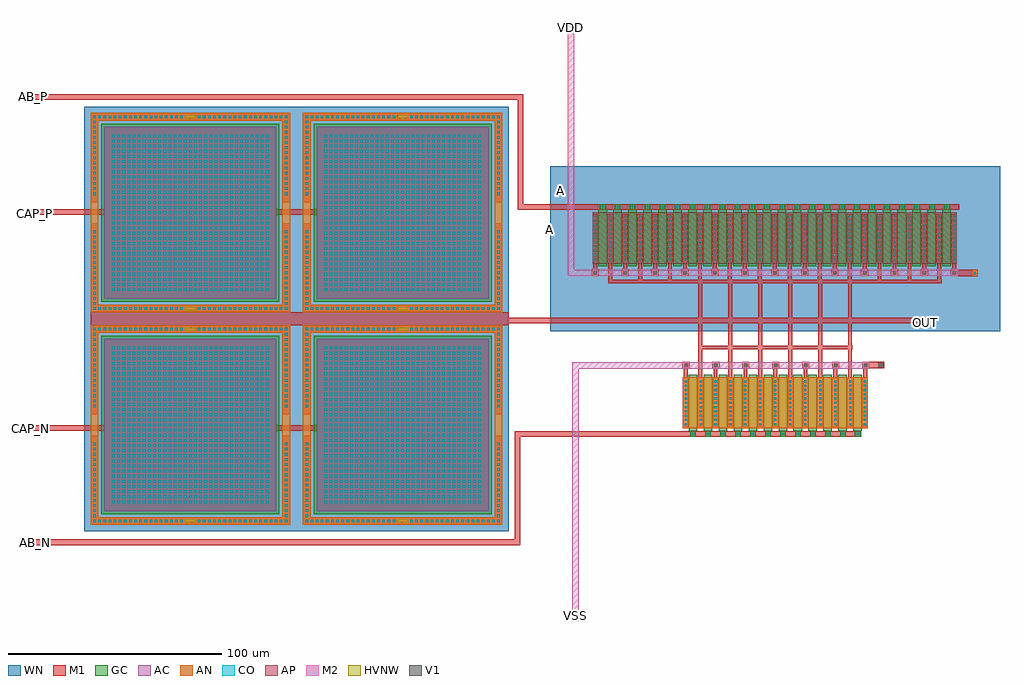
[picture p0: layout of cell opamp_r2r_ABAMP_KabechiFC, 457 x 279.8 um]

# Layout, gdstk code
from math import pi, radians
import gdstk
lib = gdstk.Library(unit=1e-6, precision=1e-07)
def R(c, l, rs):  # rectangles x0, y0, x1, y1
    for r in rs: c.add(gdstk.rectangle(r[:2], r[2:], *l))
def A(c, l, x, y, w, h, nx, ny, dx, dy):  # array of equal rectangles
    R(c, l, [(x+i*dx, y+j*dy, x+i*dx+w, y+j*dy+h) for i in range(nx) for j in range(ny)])
def P(c, l, *ps):  # polygons
    for p in ps: c.add(gdstk.Polygon(p, *l))
AP = (3, 1)
AN = (3, 2)
AC = (3, 4)
GC = (8, 1)
CO = (11, 0)
M1 = (13, 0)
V1 = (19, 0)
M2 = (20, 0)
WN = (140, 0)
HVNW = (141, 0)

fet_p = lib.new_cell('fet_p')
R(fet_p, AP, [(-85.3,-12,85.3,12)])
A(fet_p, CO, -84.5, -10.5, 1, 1, 25, 11, 7, 2)
A(fet_p, M1, -85.3, -11.3, 2.6, 22.6, 25, 1, 7, 0)
fet_p.add(gdstk.FlexPath([(3.5,-13.2),(3.5,13.2)], 4, ends="flush", simple_path=True, layer=8, datatype=1))  # GC
fet_p.add(gdstk.FlexPath([(-3.5,-13.2),(-3.5,13.2)], 4, ends="flush", simple_path=True, layer=8, datatype=1))  # GC
fet_p.add(gdstk.FlexPath([(10.5,-13.2),(10.5,13.2)], 4, ends="flush", simple_path=True, layer=8, datatype=1))  # GC
fet_p.add(gdstk.FlexPath([(-10.5,-13.2),(-10.5,13.2)], 4, ends="flush", simple_path=True, layer=8, datatype=1))  # GC
fet_p.add(gdstk.FlexPath([(17.5,-13.2),(17.5,13.2)], 4, ends="flush", simple_path=True, layer=8, datatype=1))  # GC
fet_p.add(gdstk.FlexPath([(-17.5,-13.2),(-17.5,13.2)], 4, ends="flush", simple_path=True, layer=8, datatype=1))  # GC
fet_p.add(gdstk.FlexPath([(24.5,-13.2),(24.5,13.2)], 4, ends="flush", simple_path=True, layer=8, datatype=1))  # GC
fet_p.add(gdstk.FlexPath([(-24.5,-13.2),(-24.5,13.2)], 4, ends="flush", simple_path=True, layer=8, datatype=1))  # GC
fet_p.add(gdstk.FlexPath([(31.5,-13.2),(31.5,13.2)], 4, ends="flush", simple_path=True, layer=8, datatype=1))  # GC
fet_p.add(gdstk.FlexPath([(-31.5,-13.2),(-31.5,13.2)], 4, ends="flush", simple_path=True, layer=8, datatype=1))  # GC
fet_p.add(gdstk.FlexPath([(38.5,-13.2),(38.5,13.2)], 4, ends="flush", simple_path=True, layer=8, datatype=1))  # GC
fet_p.add(gdstk.FlexPath([(-38.5,-13.2),(-38.5,13.2)], 4, ends="flush", simple_path=True, layer=8, datatype=1))  # GC
fet_p.add(gdstk.FlexPath([(45.5,-13.2),(45.5,13.2)], 4, ends="flush", simple_path=True, layer=8, datatype=1))  # GC
fet_p.add(gdstk.FlexPath([(-45.5,-13.2),(-45.5,13.2)], 4, ends="flush", simple_path=True, layer=8, datatype=1))  # GC
fet_p.add(gdstk.FlexPath([(52.5,-13.2),(52.5,13.2)], 4, ends="flush", simple_path=True, layer=8, datatype=1))  # GC
fet_p.add(gdstk.FlexPath([(-52.5,-13.2),(-52.5,13.2)], 4, ends="flush", simple_path=True, layer=8, datatype=1))  # GC
fet_p.add(gdstk.FlexPath([(59.5,-13.2),(59.5,13.2)], 4, ends="flush", simple_path=True, layer=8, datatype=1))  # GC
fet_p.add(gdstk.FlexPath([(-59.5,-13.2),(-59.5,13.2)], 4, ends="flush", simple_path=True, layer=8, datatype=1))  # GC
fet_p.add(gdstk.FlexPath([(66.5,-13.2),(66.5,13.2)], 4, ends="flush", simple_path=True, layer=8, datatype=1))  # GC
fet_p.add(gdstk.FlexPath([(-66.5,-13.2),(-66.5,13.2)], 4, ends="flush", simple_path=True, layer=8, datatype=1))  # GC
fet_p.add(gdstk.FlexPath([(73.5,-13.2),(73.5,13.2)], 4, ends="flush", simple_path=True, layer=8, datatype=1))  # GC
fet_p.add(gdstk.FlexPath([(-73.5,-13.2),(-73.5,13.2)], 4, ends="flush", simple_path=True, layer=8, datatype=1))  # GC
fet_p.add(gdstk.FlexPath([(80.5,-13.2),(80.5,13.2)], 4, ends="flush", simple_path=True, layer=8, datatype=1))  # GC
fet_p.add(gdstk.FlexPath([(-80.5,-13.2),(-80.5,13.2)], 4, ends="flush", simple_path=True, layer=8, datatype=1))  # GC

cont_g = lib.new_cell('cont_g')
R(cont_g, GC, [(-1.3,-1.3,1.3,1.3)])
R(cont_g, CO, [(-0.5,-0.5,0.5,0.5)])
R(cont_g, M1, [(-1.3,-1.3,1.3,1.3)])

via_1 = lib.new_cell('via_1')
R(via_1, M1, [(-1.7,-1.7,1.7,1.7)])
R(via_1, V1, [(-0.7,-0.7,0.7,0.7)])
R(via_1, M2, [(-1.7,-1.7,1.7,1.7)])

fet_n = lib.new_cell('fet_n')
R(fet_n, AN, [(-43.3,-12,43.3,12)])
A(fet_n, CO, -42.5, -10.5, 1, 1, 13, 11, 7, 2)
A(fet_n, M1, -43.3, -11.3, 2.6, 22.6, 13, 1, 7, 0)
fet_n.add(gdstk.FlexPath([(3.5,-13.2),(3.5,13.2)], 4, ends="flush", simple_path=True, layer=8, datatype=1))  # GC
fet_n.add(gdstk.FlexPath([(-3.5,-13.2),(-3.5,13.2)], 4, ends="flush", simple_path=True, layer=8, datatype=1))  # GC
fet_n.add(gdstk.FlexPath([(10.5,-13.2),(10.5,13.2)], 4, ends="flush", simple_path=True, layer=8, datatype=1))  # GC
fet_n.add(gdstk.FlexPath([(-10.5,-13.2),(-10.5,13.2)], 4, ends="flush", simple_path=True, layer=8, datatype=1))  # GC
fet_n.add(gdstk.FlexPath([(17.5,-13.2),(17.5,13.2)], 4, ends="flush", simple_path=True, layer=8, datatype=1))  # GC
fet_n.add(gdstk.FlexPath([(-17.5,-13.2),(-17.5,13.2)], 4, ends="flush", simple_path=True, layer=8, datatype=1))  # GC
fet_n.add(gdstk.FlexPath([(24.5,-13.2),(24.5,13.2)], 4, ends="flush", simple_path=True, layer=8, datatype=1))  # GC
fet_n.add(gdstk.FlexPath([(-24.5,-13.2),(-24.5,13.2)], 4, ends="flush", simple_path=True, layer=8, datatype=1))  # GC
fet_n.add(gdstk.FlexPath([(31.5,-13.2),(31.5,13.2)], 4, ends="flush", simple_path=True, layer=8, datatype=1))  # GC
fet_n.add(gdstk.FlexPath([(-31.5,-13.2),(-31.5,13.2)], 4, ends="flush", simple_path=True, layer=8, datatype=1))  # GC
fet_n.add(gdstk.FlexPath([(38.5,-13.2),(38.5,13.2)], 4, ends="flush", simple_path=True, layer=8, datatype=1))  # GC
fet_n.add(gdstk.FlexPath([(-38.5,-13.2),(-38.5,13.2)], 4, ends="flush", simple_path=True, layer=8, datatype=1))  # GC

moscap = lib.new_cell('moscap')
P(moscap, AN, [(-46.7,-46.7),(-46.7,43.1),(-43.1,43.1),(-43.1,-43.1),(43.1,-43.1),(43.1,43.1),(-46.7,43.1),(-46.7,46.7),(46.7,46.7),(46.7,-46.7)])
R(moscap, AC, [(-40.3,-40.3,40.3,40.3)])
R(moscap, GC, [(-41.7,-41.7,41.7,41.7)])
A(moscap, CO, -45.5, -45.5, 1.2, 1.2, 1, 18, 0, 2.4)
A(moscap, CO, -45.5, -45.5, 1.2, 1.2, 16, 2, 2.4, 89.8)
A(moscap, CO, 8.3, -45.5, 1.2, 1.2, 16, 2, 2.4, 89.8)
A(moscap, CO, 44.3, -45.5, 1.2, 1.2, 1, 18, 0, 2.4)
A(moscap, CO, -36.6, -36.6, 1.2, 1.2, 31, 31, 2.4, 2.4)
A(moscap, CO, -45.5, 3.5, 1.2, 1.2, 1, 18, 0, 2.4)
A(moscap, CO, 44.3, 3.5, 1.2, 1.2, 1, 18, 0, 2.4)
R(moscap, M1, [(-40.3,-40.3,40.3,40.3)])
P(moscap, M1, [(-46.7,-46.7),(-46.7,46.7),(-5,46.7),(-5,43.1),(-43.1,43.1),(-43.1,-43.1),(-5,-43.1),(-5,-46.7)],
  [(5,-46.7),(5,-43.1),(43.1,-43.1),(43.1,43.1),(5,43.1),(5,46.7),(46.7,46.7),(46.7,-46.7)])
R(moscap, WN, [(-49.7,-49.7,49.7,49.7)])
R(moscap, HVNW, [(-45.6,-2.4,-44.2,2.4), (44.2,-2.4,45.6,2.4)])

cont_p = lib.new_cell('cont_p')
R(cont_p, AP, [(-1.3,-1.3,1.3,1.3)])
R(cont_p, CO, [(-0.5,-0.5,0.5,0.5)])
R(cont_p, M1, [(-1.3,-1.3,1.3,1.3)])

cont_n = lib.new_cell('cont_n')
R(cont_n, AN, [(-1.3,-1.3,1.3,1.3)])
R(cont_n, CO, [(-0.5,-0.5,0.5,0.5)])
R(cont_n, M1, [(-1.3,-1.3,1.3,1.3)])

opamp_r2r_abamp_kabechif = lib.new_cell('opamp_r2r_ABAMP_KabechiFC')
R(opamp_r2r_abamp_kabechif, M1, [(-322,-43.8,-126.2,-37.8)])
R(opamp_r2r_abamp_kabechif, WN, [(-106.8,-46.7,103.8,30.7)])
opamp_r2r_abamp_kabechif.add(gdstk.FlexPath([(82.4,-19.3),(93.4,-19.3)], 3, ends="flush", simple_path=True, layer=13, datatype=0))  # M1
opamp_r2r_abamp_kabechif.add(gdstk.FlexPath([(39.2,-62.4),(49.5,-62.4)], 3, ends="flush", simple_path=True, layer=13, datatype=0))  # M1
opamp_r2r_abamp_kabechif.add(gdstk.FlexPath([(-319.5,-145.4),(-349.1,-145.4),(-349.1,-145.4)], 2.6, ends="flush", simple_path=True, layer=13, datatype=0))  # M1
opamp_r2r_abamp_kabechif.add(gdstk.FlexPath([(-122,11.6),(-73.8,11.6),(84.7,11.6)], 2.6, ends="flush", simple_path=True, layer=13, datatype=0))  # M1
opamp_r2r_abamp_kabechif.add(gdstk.FlexPath([(-79.6,-23.3),(-75.9,-23.3),(76.5,-23.3)], 1.8, ends="flush", simple_path=True, layer=13, datatype=0))  # M1
opamp_r2r_abamp_kabechif.add(gdstk.FlexPath([(-78.7,-12.9),(-78.7,-24.1)], 1.8, ends="flush", simple_path=True, layer=13, datatype=0))  # M1
opamp_r2r_abamp_kabechif.add(gdstk.FlexPath([(-64.7,-12.9),(-64.7,-24.1)], 1.8, ends="flush", simple_path=True, layer=13, datatype=0))  # M1
opamp_r2r_abamp_kabechif.add(gdstk.FlexPath([(-50.7,-12.9),(-50.7,-24.1)], 1.8, ends="flush", simple_path=True, layer=13, datatype=0))  # M1
opamp_r2r_abamp_kabechif.add(gdstk.FlexPath([(-36.7,-12.9),(-36.7,-24.1)], 1.8, ends="flush", simple_path=True, layer=13, datatype=0))  # M1
opamp_r2r_abamp_kabechif.add(gdstk.FlexPath([(-22.7,-12.9),(-22.7,-24.1)], 1.8, ends="flush", simple_path=True, layer=13, datatype=0))  # M1
opamp_r2r_abamp_kabechif.add(gdstk.FlexPath([(-8.7,-12.9),(-8.7,-24.1)], 1.8, ends="flush", simple_path=True, layer=13, datatype=0))  # M1
opamp_r2r_abamp_kabechif.add(gdstk.FlexPath([(5.4,-12.9),(5.4,-24.1)], 1.8, ends="flush", simple_path=True, layer=13, datatype=0))  # M1
opamp_r2r_abamp_kabechif.add(gdstk.FlexPath([(19.4,-12.9),(19.4,-24.1)], 1.8, ends="flush", simple_path=True, layer=13, datatype=0))  # M1
opamp_r2r_abamp_kabechif.add(gdstk.FlexPath([(33.4,-12.9),(33.4,-24.1)], 1.8, ends="flush", simple_path=True, layer=13, datatype=0))  # M1
opamp_r2r_abamp_kabechif.add(gdstk.FlexPath([(47.4,-12.9),(47.4,-24.1)], 1.8, ends="flush", simple_path=True, layer=13, datatype=0))  # M1
opamp_r2r_abamp_kabechif.add(gdstk.FlexPath([(61.4,-12.9),(61.4,-24.1)], 1.8, ends="flush", simple_path=True, layer=13, datatype=0))  # M1
opamp_r2r_abamp_kabechif.add(gdstk.FlexPath([(75.4,-12.9),(75.4,-24.1)], 1.8, ends="flush", simple_path=True, layer=13, datatype=0))  # M1
opamp_r2r_abamp_kabechif.add(gdstk.FlexPath([(-85.7,-13.2),(-85.7,-20.3)], 1.8, ends="flush", simple_path=True, layer=13, datatype=0))  # M1
opamp_r2r_abamp_kabechif.add(gdstk.FlexPath([(-71.7,-13.2),(-71.7,-20.3)], 1.8, ends="flush", simple_path=True, layer=13, datatype=0))  # M1
opamp_r2r_abamp_kabechif.add(gdstk.FlexPath([(-57.7,-13.2),(-57.7,-20.3)], 1.8, ends="flush", simple_path=True, layer=13, datatype=0))  # M1
opamp_r2r_abamp_kabechif.add(gdstk.FlexPath([(-43.7,-13.2),(-43.7,-20.3)], 1.8, ends="flush", simple_path=True, layer=13, datatype=0))  # M1
opamp_r2r_abamp_kabechif.add(gdstk.FlexPath([(-29.7,-13.2),(-29.7,-20.3)], 1.8, ends="flush", simple_path=True, layer=13, datatype=0))  # M1
opamp_r2r_abamp_kabechif.add(gdstk.FlexPath([(-15.7,-13.2),(-15.7,-20.3)], 1.8, ends="flush", simple_path=True, layer=13, datatype=0))  # M1
opamp_r2r_abamp_kabechif.add(gdstk.FlexPath([(-1.7,-13.2),(-1.7,-20.3)], 1.8, ends="flush", simple_path=True, layer=13, datatype=0))  # M1
opamp_r2r_abamp_kabechif.add(gdstk.FlexPath([(12.4,-13.2),(12.4,-20.3)], 1.8, ends="flush", simple_path=True, layer=13, datatype=0))  # M1
opamp_r2r_abamp_kabechif.add(gdstk.FlexPath([(26.4,-13.2),(26.4,-20.3)], 1.8, ends="flush", simple_path=True, layer=13, datatype=0))  # M1
opamp_r2r_abamp_kabechif.add(gdstk.FlexPath([(40.4,-13.2),(40.4,-20.3)], 1.8, ends="flush", simple_path=True, layer=13, datatype=0))  # M1
opamp_r2r_abamp_kabechif.add(gdstk.FlexPath([(54.4,-13.2),(54.4,-20.3)], 1.8, ends="flush", simple_path=True, layer=13, datatype=0))  # M1
opamp_r2r_abamp_kabechif.add(gdstk.FlexPath([(68.4,-13.2),(68.4,-20.3)], 1.8, ends="flush", simple_path=True, layer=13, datatype=0))  # M1
opamp_r2r_abamp_kabechif.add(gdstk.FlexPath([(82.4,-13.2),(82.4,-20.3)], 1.8, ends="flush", simple_path=True, layer=13, datatype=0))  # M1
opamp_r2r_abamp_kabechif.add(gdstk.FlexPath([(-79.6,-23.3),(-75.9,-23.3),(76.5,-23.3)], 1.8, ends="flush", simple_path=True, layer=13, datatype=0))  # M1
opamp_r2r_abamp_kabechif.add(gdstk.FlexPath([(-79.6,-23.3),(-75.9,-23.3),(76.5,-23.3)], 1.8, ends="flush", simple_path=True, layer=13, datatype=0))  # M1
opamp_r2r_abamp_kabechif.add(gdstk.FlexPath([(-79.6,-23.3),(-75.9,-23.3),(76.5,-23.3)], 1.8, ends="flush", simple_path=True, layer=13, datatype=0))  # M1
opamp_r2r_abamp_kabechif.add(gdstk.FlexPath([(-79.6,-23.3),(-75.9,-23.3),(76.5,-23.3)], 1.8, ends="flush", simple_path=True, layer=13, datatype=0))  # M1
opamp_r2r_abamp_kabechif.add(gdstk.FlexPath([(-43.4,-69.3),(-43.4,-63.4)], 1.8, ends="flush", simple_path=True, layer=13, datatype=0))  # M1
opamp_r2r_abamp_kabechif.add(gdstk.FlexPath([(-29.4,-69.3),(-29.4,-63.4)], 1.8, ends="flush", simple_path=True, layer=13, datatype=0))  # M1
opamp_r2r_abamp_kabechif.add(gdstk.FlexPath([(-15.4,-69.3),(-15.4,-63.4)], 1.8, ends="flush", simple_path=True, layer=13, datatype=0))  # M1
opamp_r2r_abamp_kabechif.add(gdstk.FlexPath([(-1.4,-69.3),(-1.4,-63.4)], 1.8, ends="flush", simple_path=True, layer=13, datatype=0))  # M1
opamp_r2r_abamp_kabechif.add(gdstk.FlexPath([(12.7,-69.3),(12.7,-63.4)], 1.8, ends="flush", simple_path=True, layer=13, datatype=0))  # M1
opamp_r2r_abamp_kabechif.add(gdstk.FlexPath([(26.7,-69.3),(26.7,-63.4)], 1.8, ends="flush", simple_path=True, layer=13, datatype=0))  # M1
opamp_r2r_abamp_kabechif.add(gdstk.FlexPath([(40.7,-69.3),(40.7,-63.4)], 1.8, ends="flush", simple_path=True, layer=13, datatype=0))  # M1
opamp_r2r_abamp_kabechif.add(gdstk.FlexPath([(38.8,-94.8),(-41,-94.8)], 2.6, ends="flush", simple_path=True, layer=13, datatype=0))  # M1
opamp_r2r_abamp_kabechif.add(gdstk.FlexPath([(-36.5,-70.1),(-36.5,-22.9),(-36.6,-22.9)], 1.8, ends="flush", simple_path=True, layer=13, datatype=0))  # M1
opamp_r2r_abamp_kabechif.add(gdstk.FlexPath([(-22.5,-70.1),(-22.5,-22.9),(-22.6,-22.9)], 1.8, ends="flush", simple_path=True, layer=13, datatype=0))  # M1
opamp_r2r_abamp_kabechif.add(gdstk.FlexPath([(-8.5,-70.1),(-8.5,-22.9),(-8.6,-22.9)], 1.8, ends="flush", simple_path=True, layer=13, datatype=0))  # M1
opamp_r2r_abamp_kabechif.add(gdstk.FlexPath([(5.6,-70.1),(5.6,-22.9),(5.5,-22.9)], 1.8, ends="flush", simple_path=True, layer=13, datatype=0))  # M1
opamp_r2r_abamp_kabechif.add(gdstk.FlexPath([(19.6,-70.1),(19.6,-22.9),(19.5,-22.9)], 1.8, ends="flush", simple_path=True, layer=13, datatype=0))  # M1
opamp_r2r_abamp_kabechif.add(gdstk.FlexPath([(33.6,-70.1),(33.6,-22.9),(33.5,-22.9)], 1.8, ends="flush", simple_path=True, layer=13, datatype=0))  # M1
opamp_r2r_abamp_kabechif.add(gdstk.FlexPath([(-37.6,-54.2),(34.7,-54.2)], 1.8, ends="flush", simple_path=True, layer=13, datatype=0))  # M1
opamp_r2r_abamp_kabechif.add(gdstk.FlexPath([(73.8,-41.6),(-128.2,-41.6)], 2.6, ends="flush", simple_path=True, layer=13, datatype=0))  # M1
opamp_r2r_abamp_kabechif.add(gdstk.FlexPath([(-120.7,10.4),(-120.7,63.1),(-353,63.1)], 2.6, ends="flush", simple_path=True, layer=13, datatype=0))  # M1
opamp_r2r_abamp_kabechif.add(gdstk.FlexPath([(-135.9,9.3),(-351.5,9.3)], 2.6, ends="flush", simple_path=True, layer=13, datatype=0))  # M1
opamp_r2r_abamp_kabechif.add(gdstk.FlexPath([(-135.9,-92),(-353.2,-92)], 2.6, ends="flush", simple_path=True, layer=13, datatype=0))  # M1
opamp_r2r_abamp_kabechif.add(gdstk.FlexPath([(-39.6,-94.8),(-122.2,-94.8),(-122.2,-145.4),(-322,-145.4)], 2.6, ends="flush", simple_path=True, layer=13, datatype=0))  # M1
opamp_r2r_abamp_kabechif.add(gdstk.FlexPath([(84.3,-19.2),(-97.1,-19.2),(-97.1,34),(-97.1,97.4)], 3, ends="flush", simple_path=True, layer=20, datatype=0))  # M2
opamp_r2r_abamp_kabechif.add(gdstk.FlexPath([(41.8,-62.6),(-53.3,-62.6)], 3, ends="flush", simple_path=True, layer=20, datatype=0))  # M2
opamp_r2r_abamp_kabechif.add(gdstk.FlexPath([(-52.8,-62.6),(-95,-62.6),(-95,-182.4)], 3, ends="flush", simple_path=True, layer=20, datatype=0))  # M2
opamp_r2r_abamp_kabechif.add(gdstk.Reference(fet_p, (-1.7,-2.9)))
opamp_r2r_abamp_kabechif.add(gdstk.Reference(cont_g, (-82.2,11.6)))
opamp_r2r_abamp_kabechif.add(gdstk.Reference(cont_g, (-75.2,11.6)))
opamp_r2r_abamp_kabechif.add(gdstk.Reference(cont_g, (-68.2,11.6)))
opamp_r2r_abamp_kabechif.add(gdstk.Reference(cont_g, (-61.2,11.6)))
opamp_r2r_abamp_kabechif.add(gdstk.Reference(cont_g, (-54.2,11.6)))
opamp_r2r_abamp_kabechif.add(gdstk.Reference(cont_g, (-47.2,11.6)))
opamp_r2r_abamp_kabechif.add(gdstk.Reference(cont_g, (-40.2,11.6)))
opamp_r2r_abamp_kabechif.add(gdstk.Reference(cont_g, (-33.2,11.6)))
opamp_r2r_abamp_kabechif.add(gdstk.Reference(cont_g, (-26.2,11.6)))
opamp_r2r_abamp_kabechif.add(gdstk.Reference(cont_g, (-19.2,11.6)))
opamp_r2r_abamp_kabechif.add(gdstk.Reference(cont_g, (-12.2,11.6)))
opamp_r2r_abamp_kabechif.add(gdstk.Reference(cont_g, (-5.2,11.6)))
opamp_r2r_abamp_kabechif.add(gdstk.Reference(cont_g, (1.9,11.6)))
opamp_r2r_abamp_kabechif.add(gdstk.Reference(cont_g, (8.9,11.6)))
opamp_r2r_abamp_kabechif.add(gdstk.Reference(cont_g, (15.9,11.6)))
opamp_r2r_abamp_kabechif.add(gdstk.Reference(cont_g, (22.9,11.6)))
opamp_r2r_abamp_kabechif.add(gdstk.Reference(cont_g, (29.9,11.6)))
opamp_r2r_abamp_kabechif.add(gdstk.Reference(cont_g, (36.9,11.6)))
opamp_r2r_abamp_kabechif.add(gdstk.Reference(cont_g, (43.9,11.6)))
opamp_r2r_abamp_kabechif.add(gdstk.Reference(cont_g, (50.9,11.6)))
opamp_r2r_abamp_kabechif.add(gdstk.Reference(cont_g, (57.9,11.6)))
opamp_r2r_abamp_kabechif.add(gdstk.Reference(cont_g, (64.9,11.6)))
opamp_r2r_abamp_kabechif.add(gdstk.Reference(cont_g, (71.9,11.6)))
opamp_r2r_abamp_kabechif.add(gdstk.Reference(cont_g, (78.9,11.6)))
opamp_r2r_abamp_kabechif.add(gdstk.Reference(via_1, (-85.7,-19.1)))
opamp_r2r_abamp_kabechif.add(gdstk.Reference(via_1, (-71.7,-19.1)))
opamp_r2r_abamp_kabechif.add(gdstk.Reference(via_1, (-57.7,-19.1)))
opamp_r2r_abamp_kabechif.add(gdstk.Reference(via_1, (-43.7,-19.1)))
opamp_r2r_abamp_kabechif.add(gdstk.Reference(via_1, (-29.7,-19.1)))
opamp_r2r_abamp_kabechif.add(gdstk.Reference(via_1, (-15.7,-19.1)))
opamp_r2r_abamp_kabechif.add(gdstk.Reference(via_1, (-1.7,-19.1)))
opamp_r2r_abamp_kabechif.add(gdstk.Reference(via_1, (12.4,-19.1)))
opamp_r2r_abamp_kabechif.add(gdstk.Reference(via_1, (26.4,-19.1)))
opamp_r2r_abamp_kabechif.add(gdstk.Reference(via_1, (40.4,-19.1)))
opamp_r2r_abamp_kabechif.add(gdstk.Reference(via_1, (54.4,-19.1)))
opamp_r2r_abamp_kabechif.add(gdstk.Reference(via_1, (68.4,-19.1)))
opamp_r2r_abamp_kabechif.add(gdstk.Reference(via_1, (82.4,-19.1)))
opamp_r2r_abamp_kabechif.add(gdstk.Reference(via_1, (40.9,-62.5)))
opamp_r2r_abamp_kabechif.add(gdstk.Reference(via_1, (26.9,-62.5)))
opamp_r2r_abamp_kabechif.add(gdstk.Reference(via_1, (12.9,-62.5)))
opamp_r2r_abamp_kabechif.add(gdstk.Reference(via_1, (-1.2,-62.5)))
opamp_r2r_abamp_kabechif.add(gdstk.Reference(via_1, (-15.2,-62.5)))
opamp_r2r_abamp_kabechif.add(gdstk.Reference(via_1, (-29.2,-62.5)))
opamp_r2r_abamp_kabechif.add(gdstk.Reference(via_1, (-43.2,-62.5)))
opamp_r2r_abamp_kabechif.add(gdstk.Reference(cont_g, (37.2,-94.6)))
opamp_r2r_abamp_kabechif.add(gdstk.Reference(cont_g, (30.2,-94.6)))
opamp_r2r_abamp_kabechif.add(gdstk.Reference(cont_g, (23.2,-94.6)))
opamp_r2r_abamp_kabechif.add(gdstk.Reference(cont_g, (16.2,-94.6)))
opamp_r2r_abamp_kabechif.add(gdstk.Reference(cont_g, (9.2,-94.6)))
opamp_r2r_abamp_kabechif.add(gdstk.Reference(cont_g, (2.2,-94.6)))
opamp_r2r_abamp_kabechif.add(gdstk.Reference(cont_g, (-4.9,-94.6)))
opamp_r2r_abamp_kabechif.add(gdstk.Reference(cont_g, (-11.9,-94.6)))
opamp_r2r_abamp_kabechif.add(gdstk.Reference(cont_g, (-18.9,-94.6)))
opamp_r2r_abamp_kabechif.add(gdstk.Reference(cont_g, (-25.9,-94.6)))
opamp_r2r_abamp_kabechif.add(gdstk.Reference(cont_g, (-32.9,-94.6)))
opamp_r2r_abamp_kabechif.add(gdstk.Reference(cont_g, (-39.9,-94.6)))
opamp_r2r_abamp_kabechif.add(gdstk.Reference(fet_n, (-1.4,-80.1)))
opamp_r2r_abamp_kabechif.add(gdstk.Reference(moscap, (-175.9,-90.5), rotation=pi/2))
opamp_r2r_abamp_kabechif.add(gdstk.Reference(moscap, (-175.9,8.9), rotation=pi/2))
opamp_r2r_abamp_kabechif.add(gdstk.Reference(moscap, (-275.3,-90.5), rotation=pi/2))
opamp_r2r_abamp_kabechif.add(gdstk.Reference(moscap, (-275.3,8.9), rotation=pi/2))
opamp_r2r_abamp_kabechif.add(gdstk.Reference(cont_p, (48.1,-62.3)))
opamp_r2r_abamp_kabechif.add(gdstk.Reference(cont_n, (92,-19.4)))
opamp_r2r_abamp_kabechif.add(gdstk.Label('A', (-102,19.1), layer=13, texttype=0))
opamp_r2r_abamp_kabechif.add(gdstk.Label('A', (-107.1,1.1), layer=13, texttype=0))
opamp_r2r_abamp_kabechif.add(gdstk.Label('AB_P', (-348.6,63.1), layer=48, texttype=0))
opamp_r2r_abamp_kabechif.add(gdstk.Label('CAP_P', (-348.1,8.5), layer=48, texttype=0))
opamp_r2r_abamp_kabechif.add(gdstk.Label('CAP_N', (-350.2,-91.9), layer=48, texttype=0))
opamp_r2r_abamp_kabechif.add(gdstk.Label('AB_N', (-347.6,-145.6), layer=48, texttype=0))
opamp_r2r_abamp_kabechif.add(gdstk.Label('OUT', (68.8,-42.3), layer=48, texttype=0))
opamp_r2r_abamp_kabechif.add(gdstk.Label('VSS', (-95,-179.8), layer=49, texttype=0))
opamp_r2r_abamp_kabechif.add(gdstk.Label('VDD', (-97.2,95.5), layer=49, texttype=0))

lib.write_gds('opamp_r2r_ABAMP_KabechiFC.gds')
